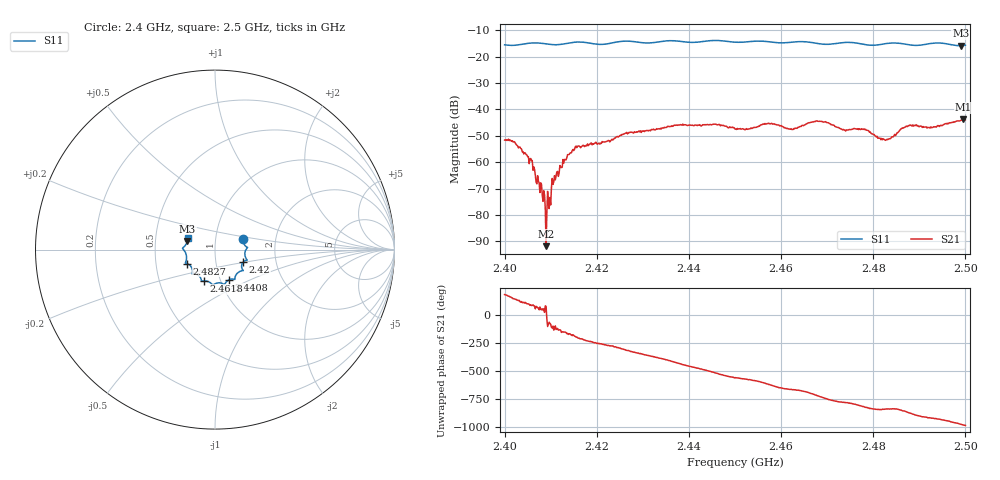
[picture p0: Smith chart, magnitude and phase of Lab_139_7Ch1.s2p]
# Hz S RI R 50
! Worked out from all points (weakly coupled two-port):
!   601 points, 2.4 GHz to 2.5 GHz, reference 50 ohm
!   highest |S21| = -43.74 dB at 2.4995 GHz (marker M1); lowest = -91.8 dB at 2.409 GHz (marker M2)
!   lowest |S11| = -15.9 dB at 2.499 GHz (marker M3), VSWR 1.38, Z = 36.5 + j3.58 ohm
!   |S11| at or under -10 dB: start of sweep to end of sweep
!   S12 and S22 are empty: the file has one direction only
!   S11 on the Smith chart (normalised r, x): 2.4 GHz: 1.36, +0.17; 2.42 GHz: 1.36, -0.19; 2.4408 GHz: 1.10, -0.38; 2.4618 GHz: 0.84, -0.30; 2.4827 GHz: 0.72, -0.12; 2.5 GHz: 0.73, +0.09
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2.4e9  0.1553 0.0617  -0.00263 2.83e-05  0 0  0 0
2.402167e9  0.16 0.0343  -0.00187 0.00156  0 0  0 0
2.4055e9  0.1793 0.0133  0.000142 0.00115  0 0  0 0
2.409e9  0.1739 0.00292  6.8e-06 2.49e-05  0 0  0 0
2.4095e9  0.1716 -0.00148  1.23e-05 -0.000168  0 0  0 0
2.410833e9  0.1668 -0.016  -0.0003 -0.000469  0 0  0 0
2.413167e9  0.1703 -0.0436  -0.00101 -0.000471  0 0  0 0
2.416667e9  0.1786 -0.059  -0.00162 0.00115  0 0  0 0
2.42e9  0.1573 -0.0691  -0.00056 0.00217  0 0  0 0
2.433333e9  0.1121 -0.1528  0.00389 -0.00176  0 0  0 0
2.440833e9  0.078 -0.1685  -0.0014 -0.00482  0 0  0 0
2.45e9  0.0273 -0.1853  -0.00401 0.00142  0 0  0 0
2.4575e9  -0.0204 -0.189  -0.000752 0.00531  0 0  0 0
2.461833e9  -0.0609 -0.1752  0.00243 0.00349  0 0  0 0
2.466667e9  -0.0765 -0.1682  0.00546 0.00171  0 0  0 0
2.478e9  -0.1255 -0.1146  -0.00065 -0.00421  0 0  0 0
2.482667e9  -0.1578 -0.0775  -0.0013 -0.00225  0 0  0 0
2.483333e9  -0.1616 -0.0764  -0.00128 -0.00244  0 0  0 0
2.487667e9  -0.1592 -0.0535  -0.00436 -0.00234  0 0  0 0
2.499e9  -0.1536 0.0477  -0.00165 0.00601  0 0  0 0
2.4995e9  -0.1521 0.0551  -0.00102 0.00642  0 0  0 0
2.5e9  -0.1514 0.0626  -0.000494 0.00636  0 0  0 0
